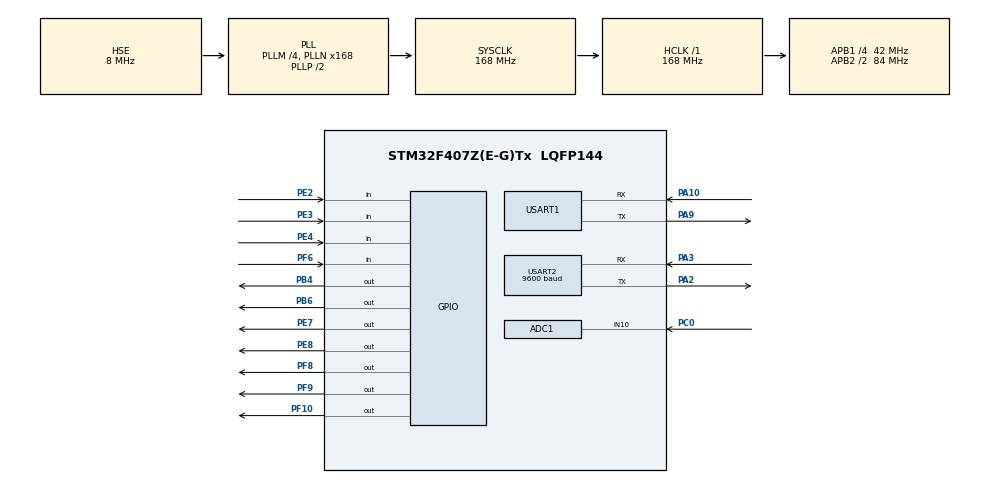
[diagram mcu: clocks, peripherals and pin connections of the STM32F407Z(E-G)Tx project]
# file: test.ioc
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ADC1.Channel-3\#ChannelRegularConversion=ADC_CHANNEL_10
ADC1.ClockPrescaler=ADC_CLOCK_SYNC_PCLK_DIV6
ADC1.ContinuousConvMode=ENABLE
ADC1.DMAContinuousRequests=ENABLE
ADC1.NbrOfConversionFlag=1
ADC1.Rank-3\#ChannelRegularConversion=1
ADC1.Resolution=ADC_RESOLUTION_12B
ADC1.SamplingTime-3\#ChannelRegularConversion=ADC_SAMPLETIME_3CYCLES
ADC1.master=1
Dma.ADC1.0.Direction=DMA_PERIPH_TO_MEMORY
Dma.ADC1.0.FIFOMode=DMA_FIFOMODE_DISABLE
Dma.ADC1.0.Instance=DMA2_Stream0
Dma.ADC1.0.MemDataAlignment=DMA_MDATAALIGN_HALFWORD
Dma.ADC1.0.MemInc=DMA_MINC_ENABLE
Dma.ADC1.0.Mode=DMA_CIRCULAR
Dma.ADC1.0.PeriphDataAlignment=DMA_PDATAALIGN_HALFWORD
Dma.ADC1.0.PeriphInc=DMA_PINC_DISABLE
Dma.ADC1.0.Priority=DMA_PRIORITY_LOW
Dma.Request0=ADC1
Mcu.Family=STM32F4
Mcu.Name=STM32F407Z(E-G)Tx
Mcu.Package=LQFP144
NVIC.DMA2_Stream0_IRQn=true\:0\:0\:false\:false\:true\:false
NVIC.PriorityGroup=NVIC_PRIORITYGROUP_4
NVIC.USART1_IRQn=true\:0\:0\:false\:false\:true\:true
NVIC.USART2_IRQn=true\:0\:0\:false\:false\:true\:true
PA10.Mode=Asynchronous
PA10.Signal=USART1_RX
PA2.Mode=Asynchronous
PA2.Signal=USART2_TX
PA3.Mode=Asynchronous
PA3.Signal=USART2_RX
PA9.Mode=Asynchronous
PA9.Signal=USART1_TX
PB4.Signal=GPIO_Output
PB6.Signal=GPIO_Output
PC0.Signal=ADCx_IN10
PE2.GPIO_PuPd=GPIO_PULLUP
PE2.Signal=GPIO_Input
PE3.GPIO_PuPd=GPIO_PULLUP
PE3.Signal=GPIO_Input
PE4.GPIO_PuPd=GPIO_PULLUP
PE4.Signal=GPIO_Input
PE7.GPIO_ModeDefaultOutputPP=GPIO_MODE_OUTPUT_OD
PE7.Signal=GPIO_Output
PE8.GPIO_ModeDefaultOutputPP=GPIO_MODE_OUTPUT_OD
PE8.Signal=GPIO_Output
PF10.GPIO_ModeDefaultOutputPP=GPIO_MODE_OUTPUT_PP
PF10.GPIO_PuPd=GPIO_NOPULL
PF10.GPIO_Speed=GPIO_SPEED_FREQ_LOW
PF10.PinState=GPIO_PIN_RESET
PF10.Signal=GPIO_Output
PF6.Signal=GPIO_Input
PF8.Signal=GPIO_Output
PF9.GPIO_ModeDefaultOutputPP=GPIO_MODE_OUTPUT_PP
PF9.GPIO_PuPd=GPIO_NOPULL
PF9.GPIO_Speed=GPIO_SPEED_FREQ_LOW
PF9.PinState=GPIO_PIN_RESET
PF9.Signal=GPIO_Output
PH0-OSC_IN.Mode=HSE-External-Oscillator
PH0-OSC_IN.Signal=RCC_OSC_IN
PH1-OSC_OUT.Mode=HSE-External-Oscillator
PH1-OSC_OUT.Signal=RCC_OSC_OUT
ProjectManager.HeapSize=0x200
ProjectManager.StackSize=0x4000
ProjectManager.TargetToolchain=MDK-ARM V5
RCC.48MHZClocksFreq_Value=84000000
RCC.AHBFreq_Value=168000000
RCC.APB1CLKDivider=RCC_HCLK_DIV4
RCC.APB1Freq_Value=42000000
RCC.APB1TimFreq_Value=84000000
RCC.APB2CLKDivider=RCC_HCLK_DIV2
RCC.APB2Freq_Value=84000000
RCC.APB2TimFreq_Value=168000000
RCC.CortexFreq_Value=168000000
RCC.EnbaleCSS=true
RCC.HCLKFreq_Value=168000000
RCC.HSE_VALUE=8000000
RCC.HSI_VALUE=16000000
RCC.LSE_VALUE=32768
RCC.PLLM=4
RCC.PLLN=168
RCC.PLLSourceVirtual=RCC_PLLSOURCE_HSE
RCC.SYSCLKFreq_VALUE=168000000
RCC.SYSCLKSource=RCC_SYSCLKSOURCE_PLLCLK
RCC.VCOOutputFreq_Value=336000000
SH.ADCx_IN10.0=ADC1_IN10,IN10
TIM7.Period=1
TIM7.Prescaler=84-1
USART1.VirtualMode=VM_ASYNC
USART1.WordLength=WORDLENGTH_8B
USART2.BaudRate=9600
USART2.VirtualMode=VM_ASYNC
VP_TIM7_VS_ClockSourceINT.Mode=Enable_Timer
board=custom

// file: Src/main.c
/* USER CODE BEGIN Header */
/**
  ******************************************************************************
  * @file           : main.c
  * @brief          : Main program body
  ******************************************************************************
  ** This notice applies to any and all portions of this file
  * that are not between comment pairs USER CODE BEGIN and
  * USER CODE END. Other portions of this file, whether
  * inserted by the user or by software development tools
  * are owned by their respective copyright owners.
  *
  * COPYRIGHT(c) 2019 STMicroelectronics
  *
  * Redistribution and use in source and binary forms, with or without modification,
  * are permitted provided that the following conditions are met:
  *   1. Redistributions of source code must retain the above copyright notice,
  *      this list of conditions and the following disclaimer.
  *   2. Redistributions in binary form must reproduce the above copyright notice,
  *      this list of conditions and the following disclaimer in the documentation
  *      and/or other materials provided with the distribution.
  *   3. Neither the name of STMicroelectronics nor the names of its contributors
  *      may be used to endorse or promote products derived from this software
  *      without specific prior written permission.
  *
  * THIS SOFTWARE IS PROVIDED BY THE COPYRIGHT HOLDERS AND CONTRIBUTORS "AS IS"
  * AND ANY EXPRESS OR IMPLIED WARRANTIES, INCLUDING, BUT NOT LIMITED TO, THE
  * IMPLIED WARRANTIES OF MERCHANTABILITY AND FITNESS FOR A PARTICULAR PURPOSE ARE
  * DISCLAIMED. IN NO EVENT SHALL THE COPYRIGHT HOLDER OR CONTRIBUTORS BE LIABLE
  * FOR ANY DIRECT, INDIRECT, INCIDENTAL, SPECIAL, EXEMPLARY, OR CONSEQUENTIAL
  * DAMAGES (INCLUDING, BUT NOT LIMITED TO, PROCUREMENT OF SUBSTITUTE GOODS OR
  * SERVICES; LOSS OF USE, DATA, OR PROFITS; OR BUSINESS INTERRUPTION) HOWEVER
  * CAUSED AND ON ANY THEORY OF LIABILITY, WHETHER IN CONTRACT, STRICT LIABILITY,
  * OR TORT (INCLUDING NEGLIGENCE OR OTHERWISE) ARISING IN ANY WAY OUT OF THE USE
  * OF THIS SOFTWARE, EVEN IF ADVISED OF THE POSSIBILITY OF SUCH DAMAGE.
  *
  ******************************************************************************
  */
/* USER CODE END Header */

#include "main.h"
#include "adc.h"
#include "dma.h"
#include "tim.h"
#include "usart.h"
#include "gpio.h"

/* USER CODE BEGIN Includes */
#include "dht11.h"
#include "flash.h"
#include "GY-30.h"

/* USER CODE END Includes */

/* USER CODE BEGIN PV */
uint16_t min_humi,max_humi;//土壤湿度的上、下限值
uint8_t rxBufLen = 0;
uint8_t rxByte;
uint8_t aRxBuffer2[64]={0};//串口2数组
uint8_t pump = 0;
/* USER CODE END PV */

void SystemClock_Config(void);
/* USER CODE BEGIN PFP */
void ReadDataFromFlash(){
		uint32_t addr = 0x08008000;
		unsigned char buf[12]={0};
		for(int i = 0;i<4;i++){
				buf[i] = printFlashTest(addr);
				addr+=4;
		}
		min_humi = (buf[0]-'0')*10+buf[1]-'0';
		max_humi = (buf[2]-'0')*10+buf[3]-'0';

}
/* USER CODE END PFP */

int main(void)
{
  /* USER CODE BEGIN 1 */
	DHT11_Data_TypeDef  DHT11_Data;
	uint8_t ADC_value = 0;
	uint8_t i;
	uint32_t ad1,ad2;
	uint8_t isAutoMode = 1;	//自动/手动模式标志位
	uint32_t time = 0;//计时器
	__IO uint16_t ADC_ConvertedValue[12];
  /* USER CODE END 1 */

  /* MCU Configuration--------------------------------------------------------*/

  /* Reset of all peripherals, Initializes the Flash interface and the Systick. */
  HAL_Init();

  /* Configure the system clock */
  SystemClock_Config();

  /* Initialize all configured peripherals */
  MX_GPIO_Init();
  MX_DMA_Init();
  MX_USART1_UART_Init();
  MX_TIM7_Init();
  MX_ADC1_Init();
  MX_USART2_UART_Init();
  /* USER CODE BEGIN 2 */
	DHT11_Init();//温湿度模块初始化
	//writeFlashTest(0x08008000,"7585",4);    //可以取消此行注释来向FLASH写入土壤湿度范围数据

	Init_BH1750();//光照初始化
	//关闭两个LED
	HAL_GPIO_WritePin(GPIOF,GPIO_PIN_9,GPIO_PIN_SET);
	HAL_GPIO_WritePin(GPIOF,GPIO_PIN_10,GPIO_PIN_SET);
	//开启ADC
	if(HAL_ADC_Start_DMA(&hadc1,(uint32_t*)&ADC_ConvertedValue[0],12)!=HAL_OK){
		 Error_Handler();
	}
	HAL_UART_Receive_IT(&huart2,&rxByte,1);
  /* USER CODE END 2 */

  /* Infinite loop */
  /* USER CODE BEGIN WHILE */
  while (1)
  {

		//writeFlashTest(0x08008000,"7583",4);    //可以取消此行注释来向FLASH写入土壤湿度范围数据

		if(!HAL_GPIO_ReadPin(GPIOE,GPIO_PIN_2)){ 							//  按下KEY2,开启/关闭手动模式
				isAutoMode ^=1;
		}
		/*
		if(!HAL_GPIO_ReadPin(GPIOE,GPIO_PIN_3)){
			if(pump){
				pump^=1;
				HAL_GPIO_WritePin(GPIOB,GPIO_PIN_4,0);//关水泵
			}
			else{
				pump^=1;
				HAL_GPIO_WritePin(GPIOB,GPIO_PIN_4,1);//开水泵
			}
		}
		*/
	 	float light = Value_GY30();
		HAL_Delay(200);
		time+=200;
		if(time>=1000){
			time = 0;
			//获取光照

			ReadDataFromFlash();//读取flash土壤湿度范围
				//获取温湿度
				unsigned char buf[20]={0};
				int res = DHT11_Read_TempAndHumidity(&DHT11_Data);
				if(res==2){

				}
				else
					sprintf(buf,"0000\n");
			//获取土壤湿度
				unsigned int i = 0;
				float	ADC_Value = 0;
				for(i = 0; i < 12; ++i)
				{
					ADC_Value += ADC_ConvertedValue[i];
				}
				ADC_Value = ADC_Value / 12;
				ADC_Value = (ADC_Value-300);
				//如果土壤湿度大于max——humi，蜂鸣器报警，开启水泵
			if(ADC_Value>max_humi&&isAutoMode){
				HAL_GPIO_WritePin(GPIOF,GPIO_PIN_8,GPIO_PIN_SET);  //蜂鸣器
				HAL_GPIO_WritePin(GPIOB,GPIO_PIN_4,GPIO_PIN_RESET);//开水泵
				 HAL_GPIO_WritePin(GPIOF,GPIO_PIN_9,GPIO_PIN_RESET);//红灯亮
				HAL_GPIO_WritePin(GPIOF,GPIO_PIN_10,GPIO_PIN_SET);//绿灯灭
			}
			else if(ADC_Value<=max_humi&&isAutoMode){
				HAL_GPIO_WritePin(GPIOB,GPIO_PIN_4,GPIO_PIN_SET); //关水泵
				HAL_GPIO_WritePin(GPIOF,GPIO_PIN_8,GPIO_PIN_RESET);//蜂鸣器闭嘴
				HAL_GPIO_WritePin(GPIOF,GPIO_PIN_10,GPIO_PIN_RESET);//绿灯亮
				HAL_GPIO_WritePin(GPIOF,GPIO_PIN_9,GPIO_PIN_SET);//红灯灭
			}
			else if(!isAutoMode){
				HAL_GPIO_WritePin(GPIOF,GPIO_PIN_9,GPIO_PIN_SET);//红灯灭
				HAL_GPIO_WritePin(GPIOF,GPIO_PIN_10,GPIO_PIN_SET);//绿灯灭
				HAL_GPIO_WritePin(GPIOB,GPIO_PIN_4,GPIO_PIN_RESET);//开水泵
				HAL_GPIO_WritePin(GPIOF,GPIO_PIN_8,GPIO_PIN_RESET);//蜂鸣器闭嘴
			}

			if(light<400){
				HAL_GPIO_WritePin(GPIOB,GPIO_PIN_6,1);//LED亮
			}
			else{
				HAL_GPIO_WritePin(GPIOB,GPIO_PIN_6,0);//LED灭
			}
			sprintf(buf,"%2d%2d%3.1f%d%4d%2d%2d\n",(int)DHT11_Data.humidity,(int)DHT11_Data.temperature,ADC_Value,isAutoMode,(int)light,min_humi,max_humi);
			HAL_UART_Transmit(&huart1,buf,sizeof(buf),10);

		}

    /* USER CODE END WHILE */

  }
}

void SystemClock_Config(void)
{
  RCC_OscInitTypeDef RCC_OscInitStruct = {0};
  RCC_ClkInitTypeDef RCC_ClkInitStruct = {0};

  /**Configure the main internal regulator output voltage
  */
  __HAL_RCC_PWR_CLK_ENABLE();
  __HAL_PWR_VOLTAGESCALING_CONFIG(PWR_REGULATOR_VOLTAGE_SCALE1);
  /**Initializes the CPU, AHB and APB busses clocks
  */
  RCC_OscInitStruct.OscillatorType = RCC_OSCILLATORTYPE_HSE;
  RCC_OscInitStruct.HSEState = RCC_HSE_ON;
  RCC_OscInitStruct.PLL.PLLState = RCC_PLL_ON;
  RCC_OscInitStruct.PLL.PLLSource = RCC_PLLSOURCE_HSE;
  RCC_OscInitStruct.PLL.PLLM = 4;
  RCC_OscInitStruct.PLL.PLLN = 168;
  RCC_OscInitStruct.PLL.PLLP = RCC_PLLP_DIV2;
  RCC_OscInitStruct.PLL.PLLQ = 4;
  if (HAL_RCC_OscConfig(&RCC_OscInitStruct) != HAL_OK)
  {
    Error_Handler();
  }
  /**Initializes the CPU, AHB and APB busses clocks
  */
  RCC_ClkInitStruct.ClockType = RCC_CLOCKTYPE_HCLK|RCC_CLOCKTYPE_SYSCLK|RCC_CLOCKTYPE_PCLK1|RCC_CLOCKTYPE_PCLK2;
  RCC_ClkInitStruct.SYSCLKSource = RCC_SYSCLKSOURCE_PLLCLK;
  RCC_ClkInitStruct.AHBCLKDivider = RCC_SYSCLK_DIV1;
  RCC_ClkInitStruct.APB1CLKDivider = RCC_HCLK_DIV4;
  RCC_ClkInitStruct.APB2CLKDivider = RCC_HCLK_DIV2;

  if (HAL_RCC_ClockConfig(&RCC_ClkInitStruct, FLASH_LATENCY_5) != HAL_OK)
  {
    Error_Handler();
  }
  /**Enables the Clock Security System
  */
  HAL_RCC_EnableCSS();
}

/* USER CODE BEGIN 4 */
void HAL_UART_RxCpltCallback(UART_HandleTypeDef *huart)
{
  /* Prevent unused argument(s) compilation warning */
  UNUSED(huart);
  /* NOTE: This function Should not be modified, when the callback is needed,
           the HAL_UART_TxCpltCallback could be implemented in the user file
   */
	if(huart->Instance == USART2)
	{
		if(rxBufLen>64)
		{
			rxBufLen=0;
			HAL_UART_Transmit(&huart1,(uint8_t *)"Too Long!\r\n",11,1000);
			memset(aRxBuffer2,0,64);
		}
		else
		{
			aRxBuffer2[rxBufLen++]=rxByte;
			if(aRxBuffer2[rxBufLen-1]==0x0A&&aRxBuffer2[rxBufLen-2]==0x0D)
			{
				//HAL_UART_Transmit(&huart1,aRxBuffer2,rxBufLen,1000);
				if(strstr(aRxBuffer2,"CONNECT")){
					uint8_t str[]="蓝牙连接成功!\n";
					HAL_UART_Transmit(&huart1,str,sizeof(str),1000);
				}
				else if(strstr(aRxBuffer2,"DISC")){
					uint8_t str[]="蓝牙断开连接!\n";
					HAL_UART_Transmit(&huart1,str,sizeof(str),1000);
				}

				rxBufLen=0;
				memset(aRxBuffer2,0,64);
			}
			else if(aRxBuffer2[0]=='A'&&aRxBuffer2[1]=='T'&&aRxBuffer2[6]=='\n'){
					uint8_t temp[4]={0};
					uint8_t res[4]={0};//用于判断是否写入
					for(int i = 0;i<4;i++){
						temp[i] = aRxBuffer2[i+2];
					}
					writeFlashTest(0x08008000,temp,4);
					uint8_t str[]="设置温湿度阈值成功!\n";
					HAL_UART_Transmit(&huart1,str,sizeof(str),1000);
					rxBufLen=0;
					memset(aRxBuffer2,0,64);

			}
		}
		HAL_UART_Receive_IT(&huart2,&rxByte,1);
	}
}
/* USER CODE END 4 */

void Error_Handler(void)
{
  /* USER CODE BEGIN Error_Handler_Debug */
  /* User can add his own implementation to report the HAL error return state */
	HAL_UART_Transmit(&huart1,"adc start failed\n",sizeof("adc start failed\n"),10);
  /* USER CODE END Error_Handler_Debug */
}

/************************ (C) COPYRIGHT STMicroelectronics *****END OF FILE****/
